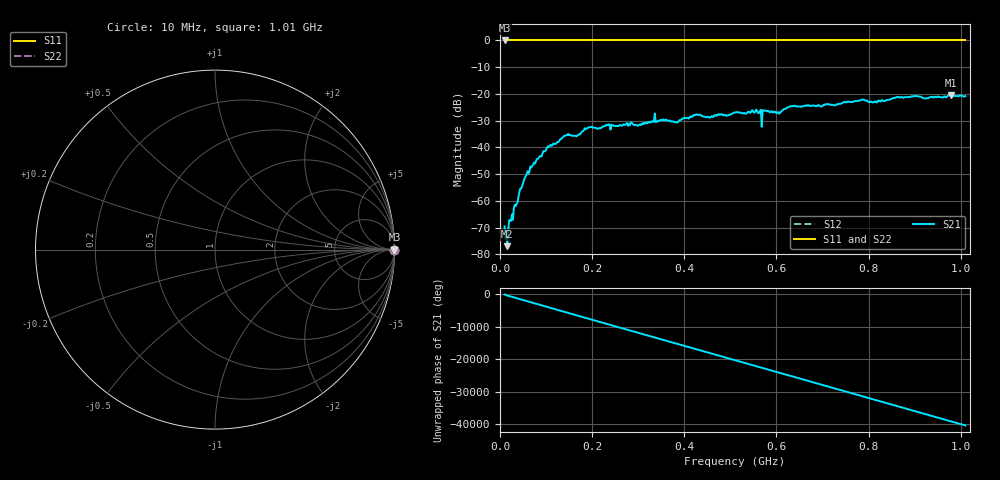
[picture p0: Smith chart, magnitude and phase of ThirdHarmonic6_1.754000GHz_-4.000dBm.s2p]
! 8/16/2025 9:09:38 PM
! C:\ANRITSUVNA\TEMP\TEMP.S2P
! CHANNEL.1
! TR.MEASUREMENT
! RAW.DATA
! RF.CORRECTION.OFF
! AVERAGING.OFF
! IF.BANDWIDTH: 5KHZ
! SWEEPTYPE:  FREQ.SWEEP(Linear)
! Reference Plane Port Info
! PORT:  PORT1  PORT2
! DISTANCE:  0  m  0  m
! TIME:  0  s  0  s
! PHASE.OFFSET:  0  deg.  0  deg.
! LOSS:  0  dB  0  dB
! REF.LOSS:  0  dB  0  dB
! REF.FREQ:  0  Hz  0  Hz
! Power Info
! POWER:  -20  dBm  -20  dBm
! EFF.POWER:  -20  dBm  -20  dBm
! SOURCE.ATTEN:  0  dB  0  dB
! TEST.ATTEN:  0  dB  0  dB
# GHZ S RI R 50.0
! FREQ.GHZ  S11RE  S11IM  S21RE  S21IM  S12RE  S12IM  S22RE  S22IM
!; PortSelection: Port_12
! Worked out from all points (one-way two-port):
!   501 points, 10 MHz to 1.01 GHz, reference 50 ohm
!   highest |S21| = -20.35 dB at 978 MHz (marker M1); lowest = -76.9 dB at 16 MHz (marker M2)
!   lowest |S11| = 0.0 dB at 10 MHz (marker M3)
!   |S11| at or under -10 dB: nowhere
!   |S22| runs from 0.0 to 0.0 dB; largest |S21 - S12| = 1.1
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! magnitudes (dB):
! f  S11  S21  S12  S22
! 10 MHz  0.0  -69.5  0.0  0.0
! 16 MHz  0.0  -76.9  0.0  0.0
! 22 MHz  0.0  -67.3  0.0  0.0
! 46 MHz  0.0  -55.4  0.0  0.0
! 70 MHz  0.0  -46.9  0.0  0.0
! 106 MHz  0.0  -39.8  0.0  0.0
! 144 MHz  0.0  -35.4  0.0  0.0
! 178 MHz  0.0  -34.1  0.0  0.0
! 196 MHz  0.0  -32.4  0.0  0.0
! 344 MHz  0.0  -30.1  0.0  0.0
! 382 MHz  0.0  -30.6  0.0  0.0
! 424 MHz  0.0  -27.9  0.0  0.0
! 452 MHz  0.0  -28.6  0.0  0.0
! 510 MHz  0.0  -26.9  0.0  0.0
! 564 MHz  0.0  -26.6  0.0  0.0
! 574 MHz  0.0  -26.1  0.0  0.0
! 604 MHz  0.0  -26.8  0.0  0.0
! 634 MHz  0.0  -24.6  0.0  0.0
! 678 MHz  0.0  -24.4  0.0  0.0
! 844 MHz  0.0  -22.1  0.0  0.0
! 978 MHz  0.0  -20.4  0.0  0.0
! 1.01 GHz  0.0  -20.8  0.0  0.0
